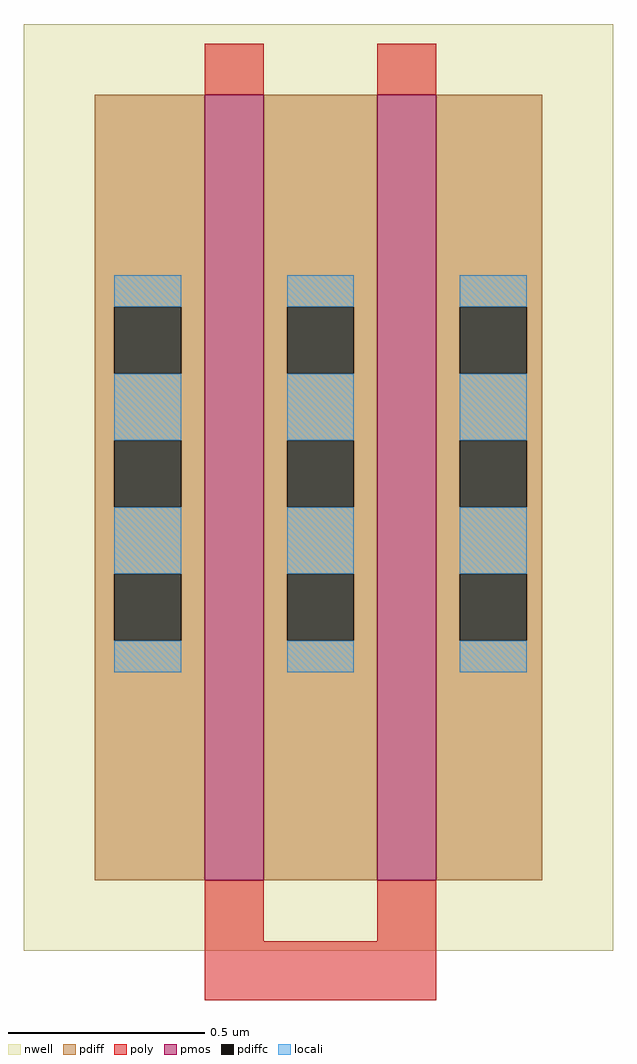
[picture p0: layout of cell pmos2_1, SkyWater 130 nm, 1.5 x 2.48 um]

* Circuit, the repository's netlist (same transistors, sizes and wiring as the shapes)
* NGSPICE file created from pmos2_1.ext - technology: sky130A

.subckt pmos2_1
X0 a_174_n399# a_144_n460# a_88_n399# w_52_n435# sky130_fd_pr__pfet_01v8 ad=0.29 pd=2.29 as=0.56 ps=4.56 w=2 l=0.15
X1 a_262_n399# a_144_n460# a_174_n399# w_52_n435# sky130_fd_pr__pfet_01v8 ad=0.54 pd=4.54 as=0.29 ps=2.29 w=2 l=0.15
.ends

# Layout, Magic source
magic
tech sky130A
magscale 1 2
<< nwell >>
rect 52 -435 352 37
<< pmos >>
rect 144 -399 174 1
rect 232 -399 262 1
<< pdiff >>
rect 88 -107 144 1
rect 88 -141 98 -107
rect 132 -141 144 -107
rect 88 -175 144 -141
rect 88 -209 98 -175
rect 132 -209 144 -175
rect 88 -243 144 -209
rect 88 -277 98 -243
rect 132 -277 144 -243
rect 88 -399 144 -277
rect 174 -107 232 1
rect 174 -141 186 -107
rect 220 -141 232 -107
rect 174 -175 232 -141
rect 174 -209 186 -175
rect 220 -209 232 -175
rect 174 -243 232 -209
rect 174 -277 186 -243
rect 220 -277 232 -243
rect 174 -399 232 -277
rect 262 -107 316 1
rect 262 -141 274 -107
rect 308 -141 316 -107
rect 262 -175 316 -141
rect 262 -209 274 -175
rect 308 -209 316 -175
rect 262 -243 316 -209
rect 262 -277 274 -243
rect 308 -277 316 -243
rect 262 -399 316 -277
<< pdiffc >>
rect 98 -141 132 -107
rect 98 -209 132 -175
rect 98 -277 132 -243
rect 186 -141 220 -107
rect 186 -209 220 -175
rect 186 -277 220 -243
rect 274 -141 308 -107
rect 274 -209 308 -175
rect 274 -277 308 -243
<< poly >>
rect 144 1 174 27
rect 232 1 262 27
rect 144 -430 174 -399
rect 232 -430 262 -399
rect 144 -460 262 -430
<< locali >>
rect 98 -107 132 -91
rect 98 -175 132 -141
rect 98 -243 132 -209
rect 98 -293 132 -277
rect 186 -107 220 -91
rect 186 -175 220 -141
rect 186 -243 220 -209
rect 186 -293 220 -277
rect 274 -107 308 -91
rect 274 -175 308 -141
rect 274 -243 308 -209
rect 274 -293 308 -277
<< end >>
